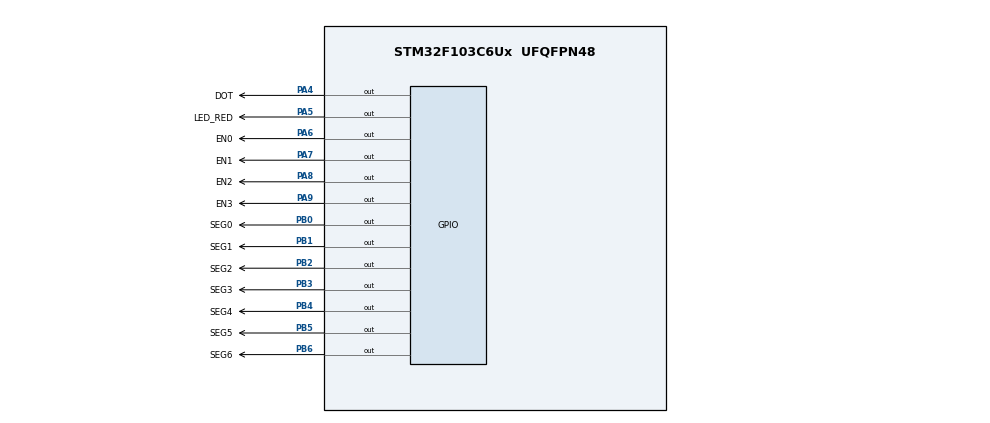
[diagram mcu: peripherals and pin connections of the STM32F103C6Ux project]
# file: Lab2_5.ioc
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Mcu.Family=STM32F1
Mcu.Name=STM32F103C6Ux
Mcu.Package=UFQFPN48
NVIC.PriorityGroup=NVIC_PRIORITYGROUP_4
NVIC.TIM2_IRQn=true\:0\:0\:false\:false\:true\:true\:true\:true
PA4.GPIO_Label=DOT
PA4.Signal=GPIO_Output
PA5.GPIO_Label=LED_RED
PA5.Signal=GPIO_Output
PA6.GPIO_Label=EN0
PA6.Signal=GPIO_Output
PA7.GPIO_Label=EN1
PA7.Signal=GPIO_Output
PA8.GPIO_Label=EN2
PA8.Signal=GPIO_Output
PA9.GPIO_Label=EN3
PA9.Signal=GPIO_Output
PB0.GPIO_Label=SEG0
PB0.Signal=GPIO_Output
PB1.GPIO_Label=SEG1
PB1.Signal=GPIO_Output
PB2.GPIO_Label=SEG2
PB2.Signal=GPIO_Output
PB3.GPIO_Label=SEG3
PB3.Signal=GPIO_Output
PB4.GPIO_Label=SEG4
PB4.Signal=GPIO_Output
PB5.GPIO_Label=SEG5
PB5.Signal=GPIO_Output
PB6.GPIO_Label=SEG6
PB6.Signal=GPIO_Output
ProjectManager.HeapSize=0x200
ProjectManager.StackSize=0x400
ProjectManager.TargetToolchain=STM32CubeIDE
RCC.APB1Freq_Value=8000000
RCC.APB2Freq_Value=8000000
TIM2.Period=9
TIM2.Prescaler=7999
VP_TIM2_VS_ClockSourceINT.Mode=Internal
board=custom

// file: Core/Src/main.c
/* USER CODE BEGIN Header */
/**
  ******************************************************************************
  * @file           : main.c
  * @brief          : Main program body
  ******************************************************************************
  * @attention
  *
  * Copyright (c) 2023 STMicroelectronics.
  * All rights reserved.
  *
  * This software is licensed under terms that can be found in the LICENSE file
  * in the root directory of this software component.
  * If no LICENSE file comes with this software, it is provided AS-IS.
  *
  ******************************************************************************
  */
/* USER CODE END Header */
#include "main.h"
#include "7ledsegment.h"
#include "software_timer.h"

TIM_HandleTypeDef htim2;

void SystemClock_Config(void);
static void MX_GPIO_Init(void);
static void MX_TIM2_Init(void);

/* USER CODE BEGIN 0 */

int led_buffer[4] = {0, 0, 0, 1};
struct seven_led led;
//const int MAX_LED = 4;
void update7SEG(int index);
void updateClockBuffer(int hour, int minute);
/* USER CODE END 0 */

int main(void)
{

  /* MCU Configuration--------------------------------------------------------*/

  /* Reset of all peripherals, Initializes the Flash interface and the Systick. */
  HAL_Init();

  /* USER CODE BEGIN Init */
  init7SEG(&led, GPIOB, GPIO_PIN_0, GPIO_PIN_1, GPIO_PIN_2, GPIO_PIN_3, GPIO_PIN_4, GPIO_PIN_5, GPIO_PIN_6);

  /* USER CODE END Init */

  /* Configure the system clock */
  SystemClock_Config();

  /* Initialize all configured peripherals */
  MX_GPIO_Init();
  MX_TIM2_Init();
  /* USER CODE BEGIN 2 */
  HAL_TIM_Base_Start_IT(&htim2);

  int index_led = 0;
  int count = 0;
  /* USER CODE END 2 */

  /* Infinite loop */
  /* USER CODE BEGIN WHILE */
  setTimer1(25);
  int hour = 15, minute = 8, second = 50;
  updateClockBuffer(hour, minute);
  while(1){
/* USER CODE END WHILE */
  if (timer1_flag == 1) {

	  if (count>3)
		  {
		  	  second++;
		      if (second >= 60){
		          second = 0;
		          minute++;
		      }
		      if(minute >= 60){
		          minute = 0;
		          hour++;
		      }
		      if(hour >=24){
		          hour = 0;
		      }
		      updateClockBuffer(hour, minute);
		      HAL_GPIO_TogglePin(GPIOA, GPIO_PIN_4);
		      count=0;
		  }
	  count++;
	  update7SEG(index_led++);
	  if (index_led>3) index_led=0;
	  setTimer1(25);
  }

}
}

void SystemClock_Config(void)
{
  RCC_OscInitTypeDef RCC_OscInitStruct = {0};
  RCC_ClkInitTypeDef RCC_ClkInitStruct = {0};

  /** Initializes the RCC Oscillators according to the specified parameters
  * in the RCC_OscInitTypeDef structure.
  */
  RCC_OscInitStruct.OscillatorType = RCC_OSCILLATORTYPE_HSI;
  RCC_OscInitStruct.HSIState = RCC_HSI_ON;
  RCC_OscInitStruct.HSICalibrationValue = RCC_HSICALIBRATION_DEFAULT;
  RCC_OscInitStruct.PLL.PLLState = RCC_PLL_NONE;
  if (HAL_RCC_OscConfig(&RCC_OscInitStruct) != HAL_OK)
  {
    Error_Handler();
  }

  /** Initializes the CPU, AHB and APB buses clocks
  */
  RCC_ClkInitStruct.ClockType = RCC_CLOCKTYPE_HCLK|RCC_CLOCKTYPE_SYSCLK
                              |RCC_CLOCKTYPE_PCLK1|RCC_CLOCKTYPE_PCLK2;
  RCC_ClkInitStruct.SYSCLKSource = RCC_SYSCLKSOURCE_HSI;
  RCC_ClkInitStruct.AHBCLKDivider = RCC_SYSCLK_DIV1;
  RCC_ClkInitStruct.APB1CLKDivider = RCC_HCLK_DIV1;
  RCC_ClkInitStruct.APB2CLKDivider = RCC_HCLK_DIV1;

  if (HAL_RCC_ClockConfig(&RCC_ClkInitStruct, FLASH_LATENCY_0) != HAL_OK)
  {
    Error_Handler();
  }
}

static void MX_TIM2_Init(void)
{

  TIM_ClockConfigTypeDef sClockSourceConfig = {0};
  TIM_MasterConfigTypeDef sMasterConfig = {0};

  htim2.Instance = TIM2;
  htim2.Init.Prescaler = 7999;
  htim2.Init.CounterMode = TIM_COUNTERMODE_UP;
  htim2.Init.Period = 9;
  htim2.Init.ClockDivision = TIM_CLOCKDIVISION_DIV1;
  htim2.Init.AutoReloadPreload = TIM_AUTORELOAD_PRELOAD_DISABLE;
  if (HAL_TIM_Base_Init(&htim2) != HAL_OK)
  {
    Error_Handler();
  }
  sClockSourceConfig.ClockSource = TIM_CLOCKSOURCE_INTERNAL;
  if (HAL_TIM_ConfigClockSource(&htim2, &sClockSourceConfig) != HAL_OK)
  {
    Error_Handler();
  }
  sMasterConfig.MasterOutputTrigger = TIM_TRGO_RESET;
  sMasterConfig.MasterSlaveMode = TIM_MASTERSLAVEMODE_DISABLE;
  if (HAL_TIMEx_MasterConfigSynchronization(&htim2, &sMasterConfig) != HAL_OK)
  {
    Error_Handler();
  }

}

static void MX_GPIO_Init(void)
{
  GPIO_InitTypeDef GPIO_InitStruct = {0};

  /* GPIO Ports Clock Enable */
  __HAL_RCC_GPIOA_CLK_ENABLE();
  __HAL_RCC_GPIOB_CLK_ENABLE();

  /*Configure GPIO pin Output Level */
  HAL_GPIO_WritePin(GPIOA, DOT_Pin|LED_RED_Pin|EN0_Pin|EN1_Pin
                          |EN2_Pin|EN3_Pin, GPIO_PIN_RESET);

  /*Configure GPIO pin Output Level */
  HAL_GPIO_WritePin(GPIOB, SEG0_Pin|SEG1_Pin|SEG2_Pin|SEG3_Pin
                          |SEG4_Pin|SEG5_Pin|SEG6_Pin, GPIO_PIN_RESET);

  /*Configure GPIO pins : DOT_Pin LED_RED_Pin EN0_Pin EN1_Pin
                           EN2_Pin EN3_Pin */
  GPIO_InitStruct.Pin = DOT_Pin|LED_RED_Pin|EN0_Pin|EN1_Pin
                          |EN2_Pin|EN3_Pin;
  GPIO_InitStruct.Mode = GPIO_MODE_OUTPUT_PP;
  GPIO_InitStruct.Pull = GPIO_NOPULL;
  GPIO_InitStruct.Speed = GPIO_SPEED_FREQ_LOW;
  HAL_GPIO_Init(GPIOA, &GPIO_InitStruct);

  /*Configure GPIO pins : SEG0_Pin SEG1_Pin SEG2_Pin SEG3_Pin
                           SEG4_Pin SEG5_Pin SEG6_Pin */
  GPIO_InitStruct.Pin = SEG0_Pin|SEG1_Pin|SEG2_Pin|SEG3_Pin
                          |SEG4_Pin|SEG5_Pin|SEG6_Pin;
  GPIO_InitStruct.Mode = GPIO_MODE_OUTPUT_PP;
  GPIO_InitStruct.Pull = GPIO_NOPULL;
  GPIO_InitStruct.Speed = GPIO_SPEED_FREQ_LOW;
  HAL_GPIO_Init(GPIOB, &GPIO_InitStruct);

}

/* USER CODE BEGIN 4 */
void updateClockBuffer(int hour, int minute)
{
	if (0<=hour&&hour<24&&0<=minute&&minute<60)
	{
		led_buffer[0]=hour/10;
		led_buffer[1]=hour%10;
		led_buffer[2]=minute/10;
		led_buffer[3]=minute%10;
	}
}

void HAL_TIM_PeriodElapsedCallback(TIM_HandleTypeDef *htim)
{
	timerRun1();
}

void update7SEG(int index){
      switch (index){
          case 0:
        	  HAL_GPIO_WritePin(GPIOA, GPIO_PIN_6, 0);
        	  HAL_GPIO_WritePin(GPIOA, GPIO_PIN_7, 1);
        	  HAL_GPIO_WritePin(GPIOA, GPIO_PIN_8, 1);
        	  HAL_GPIO_WritePin(GPIOA, GPIO_PIN_9, 1);
        	  display7SEG(&led, led_buffer[0]);
              break;
          case 1:
        	  HAL_GPIO_WritePin(GPIOA, GPIO_PIN_6, 1);
        	  HAL_GPIO_WritePin(GPIOA, GPIO_PIN_7, 0);
        	  HAL_GPIO_WritePin(GPIOA, GPIO_PIN_8, 1);
        	  HAL_GPIO_WritePin(GPIOA, GPIO_PIN_9, 1);
        	  display7SEG(&led, led_buffer[1]);
              break;
          case 2:
        	  HAL_GPIO_WritePin(GPIOA, GPIO_PIN_6, 1);
        	  HAL_GPIO_WritePin(GPIOA, GPIO_PIN_7, 1);
        	  HAL_GPIO_WritePin(GPIOA, GPIO_PIN_8, 0);
        	  HAL_GPIO_WritePin(GPIOA, GPIO_PIN_9, 1);
        	  display7SEG(&led, led_buffer[2]);
              break;
          case 3:
        	  HAL_GPIO_WritePin(GPIOA, GPIO_PIN_6, 1);
        	  HAL_GPIO_WritePin(GPIOA, GPIO_PIN_7, 1);
        	  HAL_GPIO_WritePin(GPIOA, GPIO_PIN_8, 1);
        	  HAL_GPIO_WritePin(GPIOA, GPIO_PIN_9, 0);
        	  display7SEG(&led, led_buffer[3]);
              break;
          default:
              break;
      }
}

/* USER CODE END 4 */

void Error_Handler(void)
{
  __disable_irq();
  while (1)
  {
  }
}
